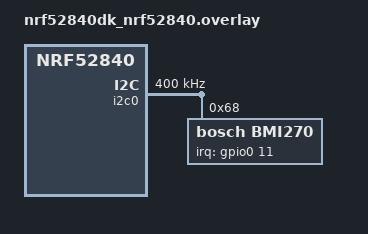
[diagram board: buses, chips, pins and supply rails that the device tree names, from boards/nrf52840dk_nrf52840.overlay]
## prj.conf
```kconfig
# ── Sensor: BMI270 ───────────────────────────────────────────────
CONFIG_I2C=y
CONFIG_SENSOR=y
CONFIG_BMI270=y
 
CONFIG_BMI270_TRIGGER_OWN_THREAD=y
 
# ── Bluetooth ────────────────────────────────────────────────────
CONFIG_BT=y
CONFIG_BT_PERIPHERAL=y
CONFIG_BT_DEVICE_NAME="PetTracker"
CONFIG_BT_DEVICE_APPEARANCE=833
 
# ── GPIO (required for BMI270 INT1 pin) ─────────────────────────
CONFIG_GPIO=y
 
# ── Logging ──────────────────────────────────────────────────────
CONFIG_LOG=y
CONFIG_LOG_DEFAULT_LEVEL=3
CONFIG_SENSOR_LOG_LEVEL_DBG=y
```

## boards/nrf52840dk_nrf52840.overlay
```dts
&i2c0 {
    status = "okay";
    clock-frequency = <I2C_BITRATE_FAST>;

    bmi270: bmi270@68 {
        compatible = "bosch,bmi270";
        reg = <0x68>;
        irq-gpios = <&gpio0 11 GPIO_ACTIVE_HIGH>;
    };
};
```

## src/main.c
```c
#include <zephyr/kernel.h>
#include <zephyr/device.h>
#include <zephyr/drivers/sensor.h>
#include <zephyr/bluetooth/bluetooth.h>
#include <zephyr/bluetooth/gap.h>
#include <zephyr/logging/log.h>

LOG_MODULE_REGISTER(pet_tracker, LOG_LEVEL_INF);

/* ─────────────────────────────────────────────────────────────────
 * Tunable parameters
 * ───────────────────────────────────────────────────────────────── */
#define SLEEP_TIMEOUT_MS    10000U  /* ms before returning to sleep after motion */
#define ACCEL_ODR_HZ        25      /* accelerometer output data rate            */
#define ACCEL_RANGE_G       2       /* ±2g — captures walk/run/jump cleanly      */


static const struct bt_data ad[] = {
    BT_DATA_BYTES(BT_DATA_FLAGS,
                  (BT_LE_AD_GENERAL | BT_LE_AD_NO_BREDR)),
    BT_DATA(BT_DATA_NAME_COMPLETE,
            CONFIG_BT_DEVICE_NAME,
            sizeof(CONFIG_BT_DEVICE_NAME) - 1),
};

static const struct bt_data sd[] = {
    BT_DATA(BT_DATA_NAME_COMPLETE,
            CONFIG_BT_DEVICE_NAME,
            sizeof(CONFIG_BT_DEVICE_NAME) - 1),
};


static struct k_timer sleep_timer;

static void sleep_timer_handler(struct k_timer *timer)
{
    ARG_UNUSED(timer);
    LOG_INF("Inactivity timeout — stopping BLE advertising");

    int err = bt_le_adv_stop();
    if (err) {
        LOG_WRN("bt_le_adv_stop returned %d", err);
    }


    LOG_INF("Tracker sleeping. Next wake: motion on BMI270 INT1.");
}


static void motion_trigger_handler(const struct device *dev,
                                    const struct sensor_trigger *trig)
{
    ARG_UNUSED(dev);
    ARG_UNUSED(trig);

    LOG_INF("Motion detected! → starting BLE advertising");


    static const struct bt_le_adv_param adv_param =
    BT_LE_ADV_PARAM_INIT(BT_LE_ADV_OPT_CONN,
                          BT_GAP_ADV_FAST_INT_MIN_2,
                          BT_GAP_ADV_FAST_INT_MAX_2,
                          NULL);

int err = bt_le_adv_start(&adv_param,
                           ad, ARRAY_SIZE(ad),
                           sd, ARRAY_SIZE(sd));
    if (err != 0 && err != -EALREADY) {
        LOG_ERR("bt_le_adv_start failed: %d", err);
        return;
    }


    k_timer_start(&sleep_timer, K_MSEC(SLEEP_TIMEOUT_MS), K_NO_WAIT);
}

/* ─────────────────────────────────────────────────────────────────
 * main()
 * ───────────────────────────────────────────────────────────────── */
int main(void)
{
    int err;

    /* ── 1. Acquire BMI270 device from devicetree ─────────────── */
    const struct device *bmi270_dev = DEVICE_DT_GET_ANY(bosch_bmi270);

    if (!device_is_ready(bmi270_dev)) {
        LOG_ERR("BMI270 not ready — verify overlay and I2C connection");
        return -ENODEV;
    }
    LOG_INF("BMI270 ready");

    /* ── 2. Initialize Bluetooth stack ───────────────────────── */
    err = bt_enable(NULL);
    if (err) {
        LOG_ERR("bt_enable failed: %d", err);
        return err;
    }
    LOG_INF("Bluetooth initialized — device name: %s", CONFIG_BT_DEVICE_NAME);

    /* ── 3. Init inactivity timer ─────────────────────────────── */
    k_timer_init(&sleep_timer, sleep_timer_handler, NULL);

    /* ── 4. Configure BMI270 accelerometer ───────────────────── */
    struct sensor_value odr   = { .val1 = ACCEL_ODR_HZ, .val2 = 0 };
    struct sensor_value range = { .val1 = ACCEL_RANGE_G, .val2 = 0 };

    sensor_attr_set(bmi270_dev, SENSOR_CHAN_ACCEL_XYZ,
                    SENSOR_ATTR_SAMPLING_FREQUENCY, &odr);
    sensor_attr_set(bmi270_dev, SENSOR_CHAN_ACCEL_XYZ,
                    SENSOR_ATTR_FULL_SCALE, &range);


    static struct sensor_trigger motion_trig = {
        .type = SENSOR_TRIG_MOTION,
        .chan = SENSOR_CHAN_ACCEL_XYZ,
    };

    err = sensor_trigger_set(bmi270_dev, &motion_trig, motion_trigger_handler);
    if (err) {
        LOG_ERR("sensor_trigger_set (motion) failed: %d", err);
        return err;
    }
    LOG_INF("Any-motion trigger armed (threshold ~83mg, duration 4 samples)");
    LOG_INF("Waiting for motion on BMI270 INT1...");


    while (1) {
        k_sleep(K_FOREVER);
    }

    return 0;
}
```
